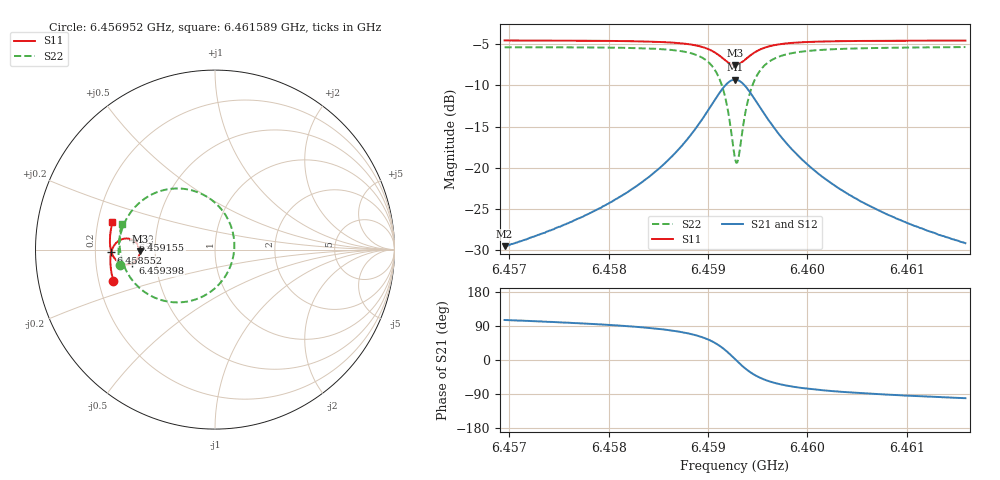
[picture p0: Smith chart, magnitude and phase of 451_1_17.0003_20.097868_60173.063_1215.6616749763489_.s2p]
#  HZ  S  RI  R  50.00
! Rohde & Schwarz Vector Network Analyzer
! Rohde-Schwarz,ZNB20-2Port,1311601062101988,3.16
! Created: UTC 3/20/2024, 11:12:15 PM
! freq[Hz]  re:S11  im:S11  re:S21  im:S21  re:S12  im:S12  re:S22  im:S22
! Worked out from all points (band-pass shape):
!   401 points, 6.456952 GHz to 6.461589 GHz, reference 50 ohm
!   highest |S21| = -9.30 dB at 6.459271 GHz (marker M1); lowest = -29.5 dB at 6.456952 GHz (marker M2)
!   |S21| within 3 dB of the highest: 6.459039 GHz to 6.459503 GHz (463.6 kHz wide, 0.00718 % of centre)
!   lowest |S11| = -7.5 dB at 6.459271 GHz (marker M3), VSWR 2.45, Z = 20.4 - j0.52 ohm
!   |S11| at or under -10 dB: nowhere
!   |S22| runs from -19.4 to -5.4 dB; largest |S21 - S12| = 0.013
!   S11 on the Smith chart (normalised r, x): 6.456952 GHz: 0.26, -0.14; 6.458552 GHz: 0.27, -0.01; 6.459155 GHz: 0.37, +0.05; 6.459398 GHz: 0.37, -0.07; 6.461589 GHz: 0.26, +0.12
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6.4569523e9  -0.5661 -0.174  -0.00897 0.0322  -0.0073 0.0321  -0.5314 -0.087
6.457729e9  -0.5805 -0.1063  -0.00575 0.0499  -0.00325 0.0494  -0.5373 0.00338
6.4581695e9  -0.5835 -0.0623  0.000274 0.0699  0.00366 0.0686  -0.529 0.0729
6.4585057e9  -0.5799 -0.0222  0.0139 0.0979  0.0178 0.0952  -0.5044 0.1483
6.4585521e9  -0.5784 -0.0159  0.0172 0.1033  0.0212 0.1003  -0.4981 0.1614
6.4587607e9  -0.5663 0.0159  0.0431 0.1348  0.0472 0.13  -0.4496 0.2327
6.4589114e9  -0.5452 0.0422  0.0854 0.1649  0.0889 0.1584  -0.3715 0.2967
6.4590621e9  -0.4995 0.0618  0.1767 0.1839  0.1776 0.1765  -0.2046 0.3405
6.4591549e9  -0.4552 0.0518  0.2659 0.153  0.2663 0.1471  -0.0392 0.291
6.4592012e9  -0.4341 0.0332  0.3093 0.1105  0.3106 0.1053  0.0432 0.2153
6.4592708e9  -0.4195 -0.0105  0.3425 0.0145  0.3461 0.00761  0.1076 0.0371
6.4592824e9  -0.42 -0.0185  0.3423 -0.00325  0.3461 -0.0107  0.1073 0.00361
6.4593056e9  -0.4233 -0.034  0.3368 -0.0376  0.3404 -0.0465  0.0964 -0.0617
6.459352e9  -0.4387 -0.0598  0.3085 -0.0971  0.3106 -0.1089  0.0394 -0.174
6.4593983e9  -0.4606 -0.0759  0.2668 -0.1378  0.266 -0.151  -0.0448 -0.2482
6.4594911e9  -0.5037 -0.0826  0.1827 -0.1687  0.1767 -0.1803  -0.2125 -0.2941
6.4596418e9  -0.5472 -0.0622  0.0956 -0.1553  0.0872 -0.1613  -0.3787 -0.2453
6.4598157e9  -0.5695 -0.0325  0.049 -0.1257  0.0415 -0.1283  -0.4622 -0.1689
6.4600475e9  -0.5811 0.00107  0.0221 -0.0963  0.0164 -0.097  -0.5062 -0.0917
6.4603953e9  -0.5856 0.0422  0.00622 -0.0697  0.0022 -0.0693  -0.5275 -0.013
6.4608242e9  -0.5836 0.0851  -0.00135 -0.0514  -0.00424 -0.0506  -0.5317 0.0552
6.4615893e9  -0.5712 0.1527  -0.00651 -0.0342  -0.0082 -0.0333  -0.5202 0.145
